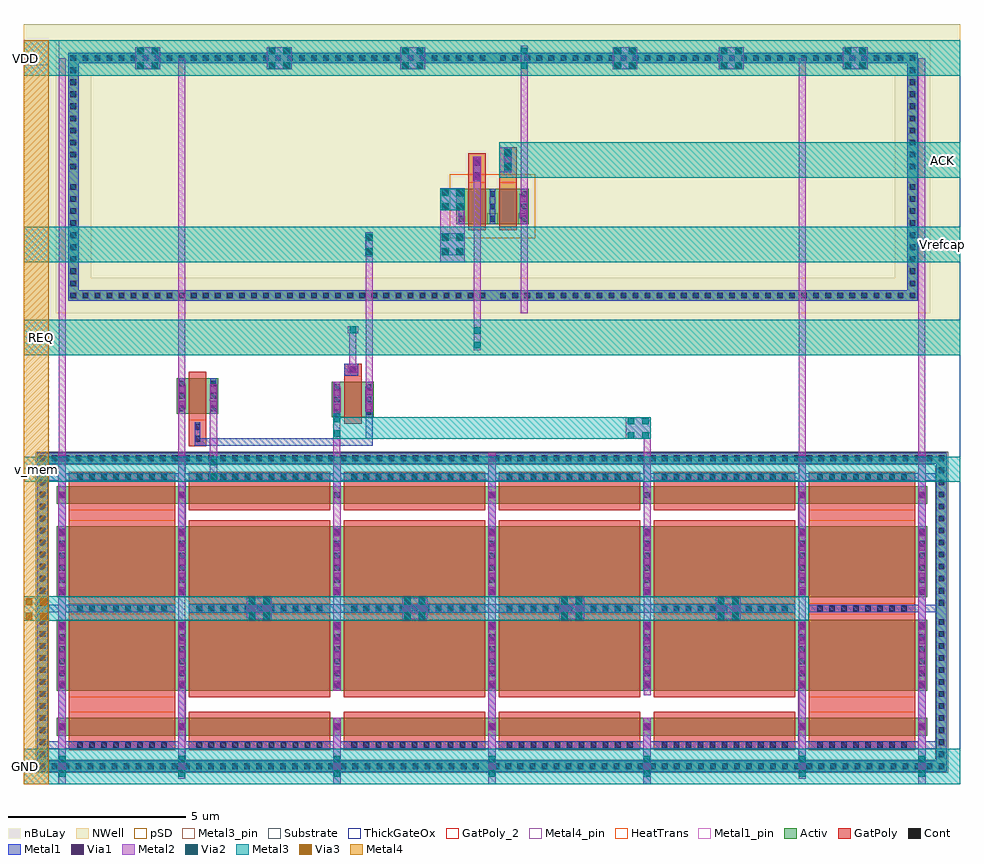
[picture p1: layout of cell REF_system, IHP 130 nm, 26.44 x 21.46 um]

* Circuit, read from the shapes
.subckt REF_system ACK GND REQ VDD Vrefcap v_mem v_ref
XM1 GND GND GND GND sg13_hv_nmos w=0.5u l=3u m=4
XM2 GND GND GND GND sg13_hv_nmos w=2u l=3u m=4
XM3 GND GND GND GND sg13_hv_nmos w=0.5u l=4u m=8
XM4 n1 v_ref GND GND sg13_hv_nmos w=2u l=4u m=8
XM5 v_mem Vrefcap GND GND sg13_hv_nmos w=1u l=0.5u
XM6 Vrefcap REQ n1 GND sg13_hv_nmos w=1u l=0.5u
XM7 n2 REQ Vrefcap VDD sg13_hv_pmos w=1u l=0.5u
XM8 VDD ACK n2 VDD sg13_hv_pmos w=1u l=0.5u
.ends

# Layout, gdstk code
from math import pi, radians
import gdstk
lib = gdstk.Library(unit=1e-6, precision=1e-09)
def R(c, l, rs):  # rectangles x0, y0, x1, y1
    for r in rs: c.add(gdstk.rectangle(r[:2], r[2:], *l))
def A(c, l, x, y, w, h, nx, ny, dx, dy):  # array of equal rectangles
    R(c, l, [(x+i*dx, y+j*dy, x+i*dx+w, y+j*dy+h) for i in range(nx) for j in range(ny)])
def P(c, l, *ps):  # polygons
    for p in ps: c.add(gdstk.Polygon(p, *l))
Activ = (1, 0)
GatPoly = (5, 0)
GatPoly_2 = (5, 2)
Cont = (6, 0)
Metal1 = (8, 0)
Metal1_pin = (8, 2)
Metal2 = (10, 0)
pSD = (14, 0)
Via1 = (19, 0)
Via2 = (29, 0)
Metal3 = (30, 0)
Metal3_pin = (30, 2)
NWell = (31, 0)
nBuLay = (32, 0)
Substrate = (40, 0)
ThickGateOx = (44, 0)
Via3 = (49, 0)
Metal4 = (50, 0)
Metal4_pin = (50, 2)
HeatTrans = (51, 0)

pmoshv_11 = lib.new_cell('pmosHV$11')
R(pmoshv_11, Activ, [(0,0,0.3,0.3), (0,0,1.18,1), (0.88,0,1.18,0.3)])
R(pmoshv_11, GatPoly, [(0.34,-0.18,0.84,1.18)])
R(pmoshv_11, GatPoly_2, [(0.34,-0.18,0.84,1.18)])
A(pmoshv_11, Cont, 0.07, 0.07, 0.16, 0.16, 1, 3, 0, 0.35)
A(pmoshv_11, Cont, 0.95, 0.07, 0.16, 0.16, 1, 3, 0, 0.35)
R(pmoshv_11, Metal1, [(0.07,0,0.23,1), (0.95,0,1.11,1)])
R(pmoshv_11, Metal1_pin, [(0.07,0,0.23,1), (0.95,0,1.11,1)])
R(pmoshv_11, pSD, [(-0.18,-0.4,1.36,1.4)])
R(pmoshv_11, NWell, [(-0.62,-0.62,1.8,1.62)])
R(pmoshv_11, Substrate, [(0.88,0,1.18,0.3)])
R(pmoshv_11, ThickGateOx, [(-0.62,-0.62,1.8,1.62)])
R(pmoshv_11, HeatTrans, [(0.34,-0.18,0.84,1.18)])
pmoshv_11.add(gdstk.Label('pmosHV', (0.59,0.5), layer=63, texttype=0))
pmoshv_11.add(gdstk.Label('pmos', (0.59,0.5), layer=51, texttype=0))

guard_ring_6 = lib.new_cell('guard_ring$6')
R(guard_ring_6, Activ, [(-12,-3.2,-11.7,3.2), (11.7,-3.2,12,3.2), (-12,3.2,12,3.5)])
P(guard_ring_6, Activ, [(-12,-3.5),(-12,3.2),(-11.7,3.2),(-11.7,-3.2),(11.7,-3.2),(11.7,3.2),(-12,3.2),(-12,3.5),(12,3.5),(12,-3.5)])
A(guard_ring_6, Cont, -11.93, -3.43, 0.16, 0.16, 35, 2, 0.34, 6.7)
A(guard_ring_6, Cont, 0.21, -3.43, 0.16, 0.16, 35, 2, 0.34, 6.7)
A(guard_ring_6, Cont, -11.93, -3.09, 0.16, 0.16, 1, 9, 0, 0.34)
A(guard_ring_6, Cont, 11.77, -3.09, 0.16, 0.16, 1, 9, 0, 0.34)
A(guard_ring_6, Cont, -11.93, 0.21, 0.16, 0.16, 1, 9, 0, 0.34)
A(guard_ring_6, Cont, 11.77, 0.21, 0.16, 0.16, 1, 9, 0, 0.34)
R(guard_ring_6, Metal1, [(-12,-3.5,12,-3.2), (-12,-3.2,-11.7,3.2), (11.7,-3.2,12,3.2), (-12,3.2,12,3.5)])
R(guard_ring_6, NWell, [(-12.35,-3.85,12.35,3.85)])
R(guard_ring_6, nBuLay, [(-12.35,-2.85,-11.35,2.85), (11.35,-2.85,12.35,2.85), (-12.35,2.85,12.35,3.85)])
P(guard_ring_6, nBuLay, [(-12.35,-3.85),(-12.35,2.85),(-11.35,2.85),(-11.35,-2.85),(11.35,-2.85),(11.35,2.85),(-12.35,2.85),(-12.35,3.85),(12.35,3.85),(12.35,-3.85)])
guard_ring_6.add(gdstk.Label('well', (0,-3.35), layer=63, texttype=0))

via_stack_24 = lib.new_cell('via_stack$24')
R(via_stack_24, Metal1, [(-0.105,-0.35,0.105,0.35)])
R(via_stack_24, Metal2, [(-0.1,-0.35,0.1,0.35)])
R(via_stack_24, Via1, [(-0.095,-0.3,0.095,-0.11), (-0.095,0.11,0.095,0.3)])

nmoshv_10 = lib.new_cell('nmosHV$10')
R(nmoshv_10, Activ, [(0,0,0.3,0.3), (0,0,1.18,1), (0.88,0,1.18,0.3)])
R(nmoshv_10, GatPoly, [(0.34,-0.18,0.84,1.18)])
R(nmoshv_10, GatPoly_2, [(0.34,-0.18,0.84,1.18)])
A(nmoshv_10, Cont, 0.07, 0.07, 0.16, 0.16, 1, 3, 0, 0.35)
A(nmoshv_10, Cont, 0.95, 0.07, 0.16, 0.16, 1, 3, 0, 0.35)
R(nmoshv_10, Metal1, [(0.07,0,0.23,1), (0.95,0,1.11,1)])
R(nmoshv_10, Metal1_pin, [(0.07,0,0.23,1), (0.95,0,1.11,1)])
R(nmoshv_10, ThickGateOx, [(-0.27,-0.52,1.45,1.52)])
R(nmoshv_10, HeatTrans, [(0.34,-0.18,0.84,1.18)])
nmoshv_10.add(gdstk.Label('nmosHV', (0.59,0.5), layer=63, texttype=0))
nmoshv_10.add(gdstk.Label('nmosHV', (0.59,0.5), layer=51, texttype=0))

nmoshv_11 = lib.new_cell('nmosHV$11')
A(nmoshv_11, Activ, 0, 0, 0.3, 0.3, 5, 1, 4.38, 0)
R(nmoshv_11, Activ, [(0,0,17.82,0.5)])
A(nmoshv_11, GatPoly, 0.34, -0.18, 4, 0.86, 4, 1, 4.38, 0)
R(nmoshv_11, GatPoly_2, [(0.34,-0.18,4.34,0.68)])
A(nmoshv_11, Cont, 0.07, 0.17, 0.16, 0.16, 5, 1, 4.38, 0)
A(nmoshv_11, Metal1, 0.07, 0, 0.16, 0.5, 5, 1, 4.38, 0)
R(nmoshv_11, Metal1_pin, [(0.07,0,0.23,0.5), (4.45,0,4.61,0.5)])
R(nmoshv_11, ThickGateOx, [(-0.27,-0.52,18.09,1.02)])
A(nmoshv_11, HeatTrans, 0.34, -0.18, 4, 0.86, 4, 1, 4.38, 0)
nmoshv_11.add(gdstk.Label('nmosHV', (2.34,0.25), layer=63, texttype=0))
nmoshv_11.add(gdstk.Label('nmosHV', (2.34,0.25), layer=51, texttype=0))
nmoshv_11.add(gdstk.Label('nmosHV', (6.72,0.25), layer=51, texttype=0))
nmoshv_11.add(gdstk.Label('nmosHV', (11.1,0.25), layer=51, texttype=0))
nmoshv_11.add(gdstk.Label('nmosHV', (15.48,0.25), layer=51, texttype=0))

nmoshv_12 = lib.new_cell('nmosHV$12')
A(nmoshv_12, Activ, 0, 0, 0.3, 0.3, 3, 1, 4.38, 0)
R(nmoshv_12, Activ, [(0,0,9.06,2)])
R(nmoshv_12, GatPoly, [(0.34,-0.18,4.34,2.18), (4.72,-0.18,8.72,2.18)])
R(nmoshv_12, GatPoly_2, [(0.34,-0.18,4.34,2.18)])
A(nmoshv_12, Cont, 0.07, 0.07, 0.16, 0.16, 3, 6, 4.38, 0.34)
A(nmoshv_12, Metal1, 0.07, 0, 0.16, 2, 3, 1, 4.38, 0)
R(nmoshv_12, Metal1_pin, [(0.07,0,0.23,2), (4.45,0,4.61,2)])
R(nmoshv_12, ThickGateOx, [(-0.27,-0.52,9.33,2.52)])
R(nmoshv_12, HeatTrans, [(0.34,-0.18,4.34,2.18), (4.72,-0.18,8.72,2.18)])
nmoshv_12.add(gdstk.Label('nmosHV', (2.34,1), layer=63, texttype=0))
nmoshv_12.add(gdstk.Label('nmosHV', (2.34,1), layer=51, texttype=0))
nmoshv_12.add(gdstk.Label('nmosHV', (6.72,1), layer=51, texttype=0))

guard_ring_7 = lib.new_cell('guard_ring$7')
R(guard_ring_7, Activ, [(-12.85,-4.2,-12.55,4.2), (12.55,-4.2,12.85,4.2), (-12.85,4.2,12.85,4.5)])
P(guard_ring_7, Activ, [(-12.85,-4.5),(-12.85,4.2),(-12.55,4.2),(-12.55,-4.2),(12.55,-4.2),(12.55,4.2),(-12.85,4.2),(-12.85,4.5),(12.85,4.5),(12.85,-4.5)])
A(guard_ring_7, Cont, -12.78, -4.43, 0.16, 0.16, 37, 2, 0.34, 8.7)
A(guard_ring_7, Cont, 0.04, -4.43, 0.16, 0.16, 38, 2, 0.34, 8.7)
A(guard_ring_7, Cont, -12.78, -4.09, 0.16, 0.16, 1, 12, 0, 0.34)
A(guard_ring_7, Cont, 12.62, -4.09, 0.16, 0.16, 1, 12, 0, 0.34)
A(guard_ring_7, Cont, -12.78, 0.19, 0.16, 0.16, 1, 12, 0, 0.34)
A(guard_ring_7, Cont, 12.62, 0.19, 0.16, 0.16, 1, 12, 0, 0.34)
R(guard_ring_7, Metal1, [(-12.85,-4.5,12.85,-4.2), (-12.85,-4.2,-12.55,4.2), (12.55,-4.2,12.85,4.2), (-12.85,4.2,12.85,4.5)])
R(guard_ring_7, pSD, [(-12.88,-4.17,-12.52,4.17), (12.52,-4.17,12.88,4.17), (-12.88,4.17,12.88,4.53)])
P(guard_ring_7, pSD, [(-12.88,-4.53),(-12.88,4.17),(-12.52,4.17),(-12.52,-4.17),(12.52,-4.17),(12.52,4.17),(-12.88,4.17),(-12.88,4.53),(12.88,4.53),(12.88,-4.53)])
R(guard_ring_7, Substrate, [(-12.88,-4.17,-12.52,4.17), (12.52,-4.17,12.88,4.17), (-12.88,4.17,12.88,4.53)])
P(guard_ring_7, Substrate, [(-12.88,-4.53),(-12.88,4.17),(-12.52,4.17),(-12.52,-4.17),(12.52,-4.17),(12.52,4.17),(-12.88,4.17),(-12.88,4.53),(12.88,4.53),(12.88,-4.53)])
guard_ring_7.add(gdstk.Label('sub!', (0,-4.35), layer=63, texttype=0))

via_stack_27 = lib.new_cell('via_stack$27')
R(via_stack_27, Metal2, [(-0.1,-0.35,0.1,0.35)])
R(via_stack_27, Via2, [(-0.095,-0.3,0.095,-0.11), (-0.095,0.11,0.095,0.3)])
R(via_stack_27, Metal3, [(-0.1,-0.35,0.1,0.35)])

via_stack_25 = lib.new_cell('via_stack$25')
R(via_stack_25, Metal1, [(-0.35,-0.31,0.35,0.31)])
R(via_stack_25, Metal2, [(-0.35,-0.305,0.35,0.305)])
R(via_stack_25, Via1, [(-0.3,-0.3,-0.11,-0.11), (0.11,-0.3,0.3,-0.11), (-0.3,0.11,-0.11,0.3), (0.11,0.11,0.3,0.3)])
R(via_stack_25, Via2, [(-0.3,-0.3,-0.11,-0.11), (0.11,-0.3,0.3,-0.11), (-0.3,0.11,-0.11,0.3), (0.11,0.11,0.3,0.3)])
R(via_stack_25, Metal3, [(-0.35,-0.305,0.35,0.305)])

via_stack_26 = lib.new_cell('via_stack$26')
R(via_stack_26, GatPoly, [(-0.15,-0.32,0.15,0.32)])
R(via_stack_26, Cont, [(-0.08,-0.25,0.08,-0.09), (-0.08,0.09,0.08,0.25)])
R(via_stack_26, Metal1, [(-0.105,-0.35,0.105,0.35)])
R(via_stack_26, Metal2, [(-0.1,-0.35,0.1,0.35)])
R(via_stack_26, Via1, [(-0.095,-0.3,0.095,-0.11), (-0.095,0.11,0.095,0.3)])
R(via_stack_26, Via2, [(-0.095,-0.3,0.095,-0.11), (-0.095,0.11,0.095,0.3)])
R(via_stack_26, Metal3, [(-0.1,-0.35,0.1,0.35)])

via_stack_28 = lib.new_cell('via_stack$28')
R(via_stack_28, Metal2, [(-0.145,-0.1,0.145,0.1)])
R(via_stack_28, Via2, [(-0.095,-0.095,0.095,0.095)])
R(via_stack_28, Metal3, [(-0.145,-0.1,0.145,0.1)])

via_stack_29 = lib.new_cell('via_stack$29')
R(via_stack_29, GatPoly, [(-0.15,-0.32,0.15,0.32)])
R(via_stack_29, Cont, [(-0.08,-0.25,0.08,-0.09), (-0.08,0.09,0.08,0.25)])
R(via_stack_29, Metal1, [(-0.105,-0.35,0.105,0.35)])
R(via_stack_29, Metal2, [(-0.1,-0.35,0.1,0.35)])
R(via_stack_29, Via1, [(-0.095,-0.3,0.095,-0.11), (-0.095,0.11,0.095,0.3)])

via_stack_30 = lib.new_cell('via_stack$30')
R(via_stack_30, GatPoly, [(-0.15,-0.15,0.15,0.15)])
R(via_stack_30, Cont, [(-0.08,-0.08,0.08,0.08)])
R(via_stack_30, Metal1, [(-0.145,-0.105,0.145,0.105)])
R(via_stack_30, Metal2, [(-0.145,-0.1,0.145,0.1)])
R(via_stack_30, Via1, [(-0.095,-0.095,0.095,0.095)])

via_stack_31 = lib.new_cell('via_stack$31')
R(via_stack_31, Metal1, [(-0.105,-0.35,0.105,0.35)])
R(via_stack_31, Metal2, [(-0.1,-0.35,0.1,0.35)])
R(via_stack_31, Via1, [(-0.095,-0.3,0.095,-0.11), (-0.095,0.11,0.095,0.3)])
R(via_stack_31, Via2, [(-0.095,-0.3,0.095,-0.11), (-0.095,0.11,0.095,0.3)])
R(via_stack_31, Metal3, [(-0.1,-0.35,0.1,0.35)])

nmoshv_13 = lib.new_cell('nmosHV$13')
R(nmoshv_13, Activ, [(0,0,0.3,0.3), (0,0,3.68,0.5), (3.38,0,3.68,0.3)])
R(nmoshv_13, GatPoly, [(0.34,-0.18,3.34,0.68)])
R(nmoshv_13, GatPoly_2, [(0.34,-0.18,3.34,0.68)])
R(nmoshv_13, Cont, [(0.07,0.17,0.23,0.33), (3.45,0.17,3.61,0.33)])
R(nmoshv_13, Metal1, [(0.07,0,0.23,0.5), (3.45,0,3.61,0.5)])
R(nmoshv_13, Metal1_pin, [(0.07,0,0.23,0.5), (3.45,0,3.61,0.5)])
R(nmoshv_13, ThickGateOx, [(-0.27,-0.52,3.95,1.02)])
R(nmoshv_13, HeatTrans, [(0.34,-0.18,3.34,0.68)])
nmoshv_13.add(gdstk.Label('nmosHV', (1.84,0.25), layer=63, texttype=0))
nmoshv_13.add(gdstk.Label('nmosHV', (1.84,0.25), layer=51, texttype=0))

nmoshv_14 = lib.new_cell('nmosHV$14')
R(nmoshv_14, Activ, [(0,0,0.3,0.3), (0,0,3.68,2), (3.38,0,3.68,0.3)])
R(nmoshv_14, GatPoly, [(0.34,-0.18,3.34,2.18)])
R(nmoshv_14, GatPoly_2, [(0.34,-0.18,3.34,2.18)])
A(nmoshv_14, Cont, 0.07, 0.07, 0.16, 0.16, 1, 6, 0, 0.34)
A(nmoshv_14, Cont, 3.45, 0.07, 0.16, 0.16, 1, 6, 0, 0.34)
R(nmoshv_14, Metal1, [(0.07,0,0.23,2), (3.45,0,3.61,2)])
R(nmoshv_14, Metal1_pin, [(0.07,0,0.23,2), (3.45,0,3.61,2)])
R(nmoshv_14, ThickGateOx, [(-0.27,-0.52,3.95,2.52)])
R(nmoshv_14, HeatTrans, [(0.34,-0.18,3.34,2.18)])
nmoshv_14.add(gdstk.Label('nmosHV', (1.84,1), layer=63, texttype=0))
nmoshv_14.add(gdstk.Label('nmosHV', (1.84,1), layer=51, texttype=0))

via_stack_34 = lib.new_cell('via_stack$34')
R(via_stack_34, GatPoly, [(-1.85,-0.15,1.85,0.15)])
A(via_stack_34, Cont, -1.78, -0.08, 0.16, 0.16, 11, 1, 0.34, 0)
R(via_stack_34, Metal1, [(-1.83,-0.08,1.83,0.08)])

via_stack_35 = lib.new_cell('via_stack$35')
R(via_stack_35, GatPoly, [(-1.34,-0.15,1.34,0.15)])
A(via_stack_35, Cont, -1.27, -0.08, 0.16, 0.16, 8, 1, 0.34, 0)
R(via_stack_35, Metal1, [(-1.32,-0.08,1.32,0.08)])

via_stack_33 = lib.new_cell('via_stack$33')
R(via_stack_33, Metal1, [(-0.145,-0.105,0.145,0.105)])
R(via_stack_33, Metal2, [(-0.145,-0.1,0.145,0.1)])
R(via_stack_33, Via1, [(-0.095,-0.095,0.095,0.095)])

via_stack_36 = lib.new_cell('via_stack$36')
R(via_stack_36, GatPoly, [(-0.15,-0.32,0.15,0.32)])
R(via_stack_36, Cont, [(-0.08,-0.25,0.08,-0.09), (-0.08,0.09,0.08,0.25)])
R(via_stack_36, Metal1, [(-0.08,-0.3,0.08,0.3)])

via_stack_32 = lib.new_cell('via_stack$32')
R(via_stack_32, Metal1, [(-0.965,-0.105,0.965,0.105)])
R(via_stack_32, Metal2, [(-0.965,-0.1,0.965,0.1)])
A(via_stack_32, Via1, -0.915, -0.095, 0.19, 0.19, 5, 1, 0.41, 0)

via_stack_37 = lib.new_cell('via_stack$37')
R(via_stack_37, Metal3, [(-0.35,-0.305,0.35,0.305)])
R(via_stack_37, Via3, [(-0.3,-0.3,-0.11,-0.11), (0.11,-0.3,0.3,-0.11), (-0.3,0.11,-0.11,0.3), (0.11,0.11,0.3,0.3)])
R(via_stack_37, Metal4, [(-0.35,-0.305,0.35,0.305)])

via_stack_38 = lib.new_cell('via_stack$38')
R(via_stack_38, Metal1, [(-0.35,-0.105,0.35,0.105)])
R(via_stack_38, Metal2, [(-0.35,-0.1,0.35,0.1)])
R(via_stack_38, Via1, [(-0.3,-0.095,-0.11,0.095), (0.11,-0.095,0.3,0.095)])

via_stack_39 = lib.new_cell('via_stack$39')
R(via_stack_39, Metal2, [(-0.35,-0.305,0.35,0.305)])
R(via_stack_39, Via2, [(-0.3,-0.3,-0.11,-0.11), (0.11,-0.3,0.3,-0.11), (-0.3,0.11,-0.11,0.3), (0.11,0.11,0.3,0.3)])
R(via_stack_39, Metal3, [(-0.35,-0.305,0.35,0.305)])

ref_system = lib.new_cell('REF_system')
A(ref_system, GatPoly, 4.65, 0.455, 4, 0.3, 4, 1, 4.38, 0)
A(ref_system, GatPoly, 4.65, 1.955, 4, 5, 4, 1, 4.38, 0)
R(ref_system, GatPoly, [(1.27,0.455,4.27,8.325), (22.17,0.455,25.17,8.325), (4.65,8.025,8.65,8.325), (4.65,8.025,8.65,8.325), (9.03,8.025,13.03,8.325), (9.03,8.025,13.03,8.325), (13.41,8.025,17.41,8.325), (13.41,8.025,17.41,8.325), (17.79,8.025,21.79,8.325), (17.79,8.025,21.79,8.325), (4.655,9.035,5.155,9.955), (9.04,10.965,9.54,11.375), (13.425,16.21,13.92,17.485), (12.545,16.395,13.045,17.315)])
A(ref_system, Metal1, 4.355, 0.865, 0.21, 0.5, 5, 1, 4.38, 0)
A(ref_system, Metal1, 4.355, 2.135, 0.21, 2, 5, 2, 4.38, 2.64)
R(ref_system, Metal1, [(0.975,0.865,1.185,1.365), (25.255,0.865,25.465,1.365), (0.975,2.135,1.185,4.135), (25.255,2.135,25.465,4.135), (0.975,4.775,1.185,6.775), (25.255,4.775,25.465,6.775), (0.975,7.415,1.185,7.915), (0.975,7.415,1.185,7.915), (4.355,7.415,4.565,7.915), (4.355,7.415,4.565,7.915), (8.74,7.415,8.95,7.915), (8.74,7.415,8.95,7.915), (13.115,7.415,13.325,7.915), (13.115,7.415,13.325,7.915), (17.495,7.415,17.705,7.915), (17.495,7.415,17.705,7.915), (21.875,7.415,22.085,7.915), (21.875,7.415,22.085,7.915), (25.255,7.415,25.465,7.915), (25.255,7.415,25.465,7.915), (1.27,8.07,4.27,8.28), (1.27,8.07,4.27,8.28), (22.17,8.07,25.17,8.28), (22.17,8.07,25.17,8.28), (9.04,11.035,9.44,11.375)])
R(ref_system, Metal2, [(13.425,16.78,13.775,17.485)])
R(ref_system, Metal3_pin, [(0,-0.5,1,0.5), (0,8.04,0.7,8.74), (0,11.605,1,12.605), (25.44,14.24,26.44,15.24), (25.44,16.62,26.44,17.62), (0,19.5,1,20.5)])
R(ref_system, NWell, [(0,11.605,26.44,20.965)])
R(ref_system, ThickGateOx, [(0,-0.5,26.44,20.5)])
R(ref_system, Metal4_pin, [(0,19.8,0.7,20.5)])
ref_system.add(gdstk.FlexPath([(4.82,9.16),(9.75,9.16),(9.75,10.855)], 0.2, ends="flush", simple_path=True, layer=8, datatype=0))  # Metal1
ref_system.add(gdstk.FlexPath([(1.08,8.85),(1.08,-0.15)], 0.21, ends="flush", simple_path=True, layer=8, datatype=0))  # Metal1
ref_system.add(gdstk.FlexPath([(1.08,2.04),(1.08,0)], 0.21, ends="flush", simple_path=True, layer=8, datatype=0))  # Metal1
ref_system.add(gdstk.FlexPath([(25.36,2.04),(25.36,0)], 0.21, ends="flush", simple_path=True, layer=8, datatype=0))  # Metal1
ref_system.add(gdstk.FlexPath([(25.36,-0.15),(25.36,8.85)], 0.21, ends="flush", simple_path=True, layer=8, datatype=0))  # Metal1
ref_system.add(gdstk.FlexPath([(13.22,8.85),(13.22,4.775)], 0.21, ends="flush", simple_path=True, layer=8, datatype=0))  # Metal1
ref_system.add(gdstk.FlexPath([(4.46,4.135),(4.46,0)], 0.21, ends="flush", simple_path=True, layer=8, datatype=0))  # Metal1
ref_system.add(gdstk.FlexPath([(21.98,4.135),(21.98,0)], 0.21, ends="flush", simple_path=True, layer=8, datatype=0))  # Metal1
ref_system.add(gdstk.FlexPath([(21.98,8.85),(21.98,4.775)], 0.21, ends="flush", simple_path=True, layer=8, datatype=0))  # Metal1
ref_system.add(gdstk.FlexPath([(13.22,4.135),(13.22,0)], 0.21, ends="flush", simple_path=True, layer=8, datatype=0))  # Metal1
ref_system.add(gdstk.FlexPath([(4.65,4.455),(21.79,4.455)], 0.24, ends="flush", simple_path=True, layer=8, datatype=0))  # Metal1
ref_system.add(gdstk.FlexPath([(9.03,4.455),(13.03,4.455)], 0.24, ends="flush", simple_path=True, layer=8, datatype=0))  # Metal1
ref_system.add(gdstk.FlexPath([(13.41,4.455),(17.41,4.455)], 0.24, ends="flush", simple_path=True, layer=8, datatype=0))  # Metal1
ref_system.add(gdstk.FlexPath([(17.79,4.455),(21.79,4.455)], 0.24, ends="flush", simple_path=True, layer=8, datatype=0))  # Metal1
ref_system.add(gdstk.FlexPath([(8.84,1.365),(8.84,-0.5)], 0.21, ends="flush", simple_path=True, layer=8, datatype=0))  # Metal1
ref_system.add(gdstk.FlexPath([(17.6,1.365),(17.6,-0.5)], 0.21, ends="flush", simple_path=True, layer=8, datatype=0))  # Metal1
ref_system.add(gdstk.FlexPath([(8.845,8.85),(8.845,7.415)], 0.21, ends="flush", simple_path=True, layer=8, datatype=0))  # Metal1
ref_system.add(gdstk.FlexPath([(17.6,8.85),(17.6,7.415)], 0.21, ends="flush", simple_path=True, layer=8, datatype=0))  # Metal1
ref_system.add(gdstk.FlexPath([(4.46,8.85),(4.46,4.775)], 0.21, ends="flush", simple_path=True, layer=8, datatype=0))  # Metal1
ref_system.add(gdstk.FlexPath([(4.27,4.455),(0.38,4.455)], 0.21, ends="flush", simple_path=True, layer=8, datatype=0))  # Metal1
ref_system.add(gdstk.FlexPath([(0.38,8.175),(26.06,8.175)], 0.21, ends="flush", simple_path=True, layer=8, datatype=0))  # Metal1
ref_system.add(gdstk.FlexPath([(22.17,4.455),(26.06,4.455),(26.06,4.455)], 0.21, ends="flush", simple_path=True, layer=8, datatype=0))  # Metal1
ref_system.add(gdstk.FlexPath([(0.38,0.605),(26.06,0.605)], 0.21, ends="flush", simple_path=True, layer=8, datatype=0))  # Metal1
ref_system.add(gdstk.FlexPath([(0.38,8.175),(26.06,8.175)], 0.21, ends="flush", simple_path=True, layer=8, datatype=0))  # Metal1
ref_system.add(gdstk.FlexPath([(17.6,8.85),(17.6,7.415)], 0.21, ends="flush", simple_path=True, layer=8, datatype=0))  # Metal1
ref_system.add(gdstk.FlexPath([(8.845,8.85),(8.845,7.415)], 0.21, ends="flush", simple_path=True, layer=8, datatype=0))  # Metal1
ref_system.add(gdstk.FlexPath([(1.08,8.845),(1.08,20)], 0.2, ends="flush", simple_path=True, layer=10, datatype=0))  # Metal2
ref_system.add(gdstk.FlexPath([(21.98,8.845),(21.98,20)], 0.2, ends="flush", simple_path=True, layer=10, datatype=0))  # Metal2
ref_system.add(gdstk.FlexPath([(17.6,2),(17.6,9.855)], 0.2, ends="flush", simple_path=True, layer=10, datatype=0))  # Metal2
ref_system.add(gdstk.FlexPath([(12.105,16.315),(12.105,14.24)], 0.7, ends="flush", simple_path=True, layer=10, datatype=0))  # Metal2
ref_system.add(gdstk.FlexPath([(14.125,20.35),(14.125,12.8)], 0.2, ends="flush", simple_path=True, layer=10, datatype=0))  # Metal2
ref_system.add(gdstk.FlexPath([(4.46,10.81),(4.46,20)], 0.2, ends="flush", simple_path=True, layer=10, datatype=0))  # Metal2
ref_system.add(gdstk.FlexPath([(25.36,8.845),(25.36,20)], 0.2, ends="flush", simple_path=True, layer=10, datatype=0))  # Metal2
ref_system.add(gdstk.FlexPath([(4.46,9.675),(4.46,10.81)], 0.2, ends="flush", simple_path=True, layer=10, datatype=0))  # Metal2
ref_system.add(gdstk.FlexPath([(5.355,10.79),(5.355,8.04)], 0.2, ends="flush", simple_path=True, layer=10, datatype=0))  # Metal2
ref_system.add(gdstk.FlexPath([(9.75,10.02),(9.75,14.74)], 0.2, ends="flush", simple_path=True, layer=10, datatype=0))  # Metal2
ref_system.add(gdstk.FlexPath([(12.8,17.22),(12.8,11.755)], 0.2, ends="flush", simple_path=True, layer=10, datatype=0))  # Metal2
ref_system.add(gdstk.FlexPath([(8.84,2.135),(8.84,8.695)], 0.21, ends="flush", simple_path=True, layer=10, datatype=0))  # Metal2
ref_system.add(gdstk.FlexPath([(25.36,8.85),(25.36,-0.5)], 0.21, ends="flush", simple_path=True, layer=10, datatype=0))  # Metal2
ref_system.add(gdstk.FlexPath([(1.08,8.85),(1.08,-0.5)], 0.21, ends="flush", simple_path=True, layer=10, datatype=0))  # Metal2
ref_system.add(gdstk.FlexPath([(13.22,8.85),(13.22,-0.5)], 0.21, ends="flush", simple_path=True, layer=10, datatype=0))  # Metal2
ref_system.add(gdstk.FlexPath([(8.84,1.365),(8.84,-0.5)], 0.21, ends="flush", simple_path=True, layer=10, datatype=0))  # Metal2
ref_system.add(gdstk.FlexPath([(17.6,1.365),(17.6,-0.5)], 0.21, ends="flush", simple_path=True, layer=10, datatype=0))  # Metal2
ref_system.add(gdstk.FlexPath([(8.84,8.695),(8.84,10.855)], 0.2, ends="flush", simple_path=True, layer=10, datatype=0))  # Metal2
ref_system.add(gdstk.FlexPath([(4.46,-0.35),(4.46,9.675)], 0.2, ends="flush", simple_path=True, layer=10, datatype=0))  # Metal2
ref_system.add(gdstk.FlexPath([(21.98,-0.35),(21.98,8.845)], 0.2, ends="flush", simple_path=True, layer=10, datatype=0))  # Metal2
ref_system.add(gdstk.FlexPath([(9.29,11.115),(9.29,12.43)], 0.2, ends="flush", simple_path=True, layer=10, datatype=0))  # Metal2
ref_system.add(gdstk.FlexPath([(17.7,9.55),(8.745,9.55)], 0.61, ends="flush", simple_path=True, layer=30, datatype=0))  # Metal3
ref_system.add(gdstk.FlexPath([(26.44,12.105),(0,12.105)], 1, ends="flush", simple_path=True, layer=30, datatype=0))  # Metal3
ref_system.add(gdstk.FlexPath([(0,4.455),(22.17,4.455)], 0.7, ends="flush", simple_path=True, layer=30, datatype=0))  # Metal3
ref_system.add(gdstk.FlexPath([(26.44,17.12),(13.425,17.12)], 1, ends="flush", simple_path=True, layer=30, datatype=0))  # Metal3
ref_system.add(gdstk.FlexPath([(26.44,8.39),(0,8.39)], 0.7, ends="flush", simple_path=True, layer=30, datatype=0))  # Metal3
ref_system.add(gdstk.FlexPath([(0,0),(26.44,0)], 1, ends="flush", simple_path=True, layer=30, datatype=0))  # Metal3
ref_system.add(gdstk.FlexPath([(0,20),(26.44,20)], 1, ends="flush", simple_path=True, layer=30, datatype=0))  # Metal3
ref_system.add(gdstk.FlexPath([(26.44,8.39),(0,8.39)], 0.7, ends="flush", simple_path=True, layer=30, datatype=0))  # Metal3
ref_system.add(gdstk.FlexPath([(26.44,14.74),(0,14.74)], 1, ends="flush", simple_path=True, layer=30, datatype=0))  # Metal3
ref_system.add(gdstk.FlexPath([(0.35,-0.5),(0.35,20.5)], 0.7, ends="flush", simple_path=True, layer=50, datatype=0))  # Metal4
ref_system.add(gdstk.Reference(pmoshv_11, (13.085,15.315)))
ref_system.add(gdstk.Reference(guard_ring_6, (13.245,16.65)))
ref_system.add(gdstk.Reference(via_stack_24, (8.845,10.355)))
ref_system.add(gdstk.Reference(nmoshv_10, (9.88,10.855), rotation=pi))
ref_system.add(gdstk.Reference(via_stack_24, (9.75,10.37)))
ref_system.add(gdstk.Reference(pmoshv_11, (12.205,15.315)))
ref_system.add(gdstk.Reference(nmoshv_11, (4.31,0.865)))
ref_system.add(gdstk.Reference(nmoshv_12, (4.31,2.135)))
ref_system.add(gdstk.Reference(nmoshv_12, (4.31,4.775)))
ref_system.add(gdstk.Reference(nmoshv_11, (4.31,7.415)))
ref_system.add(gdstk.Reference(nmoshv_11, (4.31,7.415)))
ref_system.add(gdstk.Reference(nmoshv_10, (4.315,9.96)))
ref_system.add(gdstk.Reference(guard_ring_7, (13.22,4.35)))
ref_system.add(gdstk.Reference(nmoshv_12, (13.07,2.135)))
ref_system.add(gdstk.Reference(nmoshv_12, (13.07,4.775)))
ref_system.add(gdstk.Reference(via_stack_27, (14.125,20)))
ref_system.add(gdstk.Reference(via_stack_25, (16.975,20)))
ref_system.add(gdstk.Reference(via_stack_25, (16.975,20)))
ref_system.add(gdstk.Reference(via_stack_24, (14.115,15.815)))
ref_system.add(gdstk.Reference(via_stack_26, (13.665,17.13)))
ref_system.add(gdstk.Reference(via_stack_25, (19.975,20)))
ref_system.add(gdstk.Reference(via_stack_25, (23.48,20)))
ref_system.add(gdstk.Reference(via_stack_25, (12.105,14.74)))
ref_system.add(gdstk.Reference(via_stack_25, (10.98,20)))
ref_system.add(gdstk.Reference(via_stack_25, (7.215,20)))
ref_system.add(gdstk.Reference(via_stack_28, (9.295,12.33)))
ref_system.add(gdstk.Reference(via_stack_24, (5.355,10.44)))
ref_system.add(gdstk.Reference(via_stack_24, (4.465,10.44)))
ref_system.add(gdstk.Reference(via_stack_29, (12.8,16.87)))
ref_system.add(gdstk.Reference(via_stack_27, (12.805,12.105)))
ref_system.add(gdstk.Reference(via_stack_25, (3.5,20)))
ref_system.add(gdstk.Reference(via_stack_25, (12.105,16.01)))
ref_system.add(gdstk.Reference(via_stack_30, (9.29,11.21)))
ref_system.add(gdstk.Reference(via_stack_31, (9.75,14.74)))
ref_system.add(gdstk.Reference(nmoshv_13, (0.93,0.865)))
ref_system.add(gdstk.Reference(nmoshv_13, (0.93,7.415)))
ref_system.add(gdstk.Reference(nmoshv_14, (0.93,4.775)))
ref_system.add(gdstk.Reference(nmoshv_14, (0.93,2.135)))
ref_system.add(gdstk.Reference(via_stack_27, (1.08,0)))
ref_system.add(gdstk.Reference(via_stack_34, (11.03,8.175)))
ref_system.add(gdstk.Reference(via_stack_34, (6.65,8.175)))
ref_system.add(gdstk.Reference(via_stack_35, (2.77,8.175)))
ref_system.add(gdstk.Reference(via_stack_33, (1.08,7.665), rotation=pi/2))
ref_system.add(gdstk.Reference(nmoshv_13, (0.93,7.415)))
ref_system.add(gdstk.Reference(via_stack_33, (4.46,8.7), rotation=pi/2))
ref_system.add(gdstk.Reference(via_stack_33, (4.46,7.665), rotation=pi/2))
ref_system.add(gdstk.Reference(via_stack_27, (5.365,8.39)))
ref_system.add(gdstk.Reference(via_stack_33, (1.08,8.7), rotation=pi/2))
ref_system.add(gdstk.Reference(via_stack_33, (1.08,0), rotation=pi/2))
ref_system.add(gdstk.Reference(via_stack_36, (4.9,9.42)))
ref_system.add(gdstk.Reference(via_stack_33, (1.08,1.115), rotation=pi/2))
ref_system.add(gdstk.Reference(via_stack_34, (6.65,4.455)))
ref_system.add(gdstk.Reference(via_stack_34, (11.03,4.455)))
ref_system.add(gdstk.Reference(via_stack_32, (8.84,3.135), rotation=pi/2))
ref_system.add(gdstk.Reference(via_stack_32, (8.84,5.775), rotation=pi/2))
ref_system.add(gdstk.Reference(via_stack_37, (0.35,4.445)))
ref_system.add(gdstk.Reference(via_stack_27, (8.84,0)))
ref_system.add(gdstk.Reference(via_stack_33, (8.84,0), rotation=pi/2))
ref_system.add(gdstk.Reference(via_stack_33, (8.84,1.115), rotation=pi/2))
ref_system.add(gdstk.Reference(via_stack_38, (6.65,4.455)))
ref_system.add(gdstk.Reference(via_stack_32, (1.08,3.135), rotation=pi/2))
ref_system.add(gdstk.Reference(via_stack_27, (8.84,9.605)))
ref_system.add(gdstk.Reference(via_stack_39, (6.65,4.455)))
ref_system.add(gdstk.Reference(via_stack_39, (6.65,4.455)))
ref_system.add(gdstk.Reference(via_stack_38, (11.035,4.445)))
ref_system.add(gdstk.Reference(via_stack_39, (11.035,4.455)))
ref_system.add(gdstk.Reference(via_stack_32, (1.08,5.775), rotation=pi/2))
ref_system.add(gdstk.Reference(via_stack_33, (1.08,7.665), rotation=pi/2))
ref_system.add(gdstk.Reference(via_stack_35, (2.77,4.455)))
ref_system.add(gdstk.Reference(via_stack_35, (2.77,8.175)))
ref_system.add(gdstk.Reference(via_stack_35, (2.77,0.605)))
ref_system.add(gdstk.Reference(via_stack_34, (6.65,0.605)))
ref_system.add(gdstk.Reference(via_stack_34, (11.03,0.605)))
ref_system.add(gdstk.Reference(via_stack_34, (6.65,8.175)))
ref_system.add(gdstk.Reference(via_stack_34, (11.03,8.175)))
ref_system.add(gdstk.Reference(via_stack_33, (1.08,8.7), rotation=pi/2))
ref_system.add(gdstk.Reference(via_stack_27, (4.46,0)))
ref_system.add(gdstk.Reference(via_stack_33, (4.46,0), rotation=pi/2))
ref_system.add(gdstk.Reference(via_stack_33, (4.46,1.115), rotation=pi/2))
ref_system.add(gdstk.Reference(via_stack_32, (4.46,3.135), rotation=pi/2))
ref_system.add(gdstk.Reference(via_stack_32, (4.46,5.775), rotation=pi/2))
ref_system.add(gdstk.Reference(via_stack_33, (4.46,7.665), rotation=pi/2))
ref_system.add(gdstk.Reference(via_stack_33, (4.46,8.7), rotation=pi/2))
ref_system.add(gdstk.Reference(via_stack_33, (21.98,0), rotation=pi/2))
ref_system.add(gdstk.Reference(nmoshv_14, (21.83,2.135)))
ref_system.add(gdstk.Reference(via_stack_34, (15.41,8.175)))
ref_system.add(gdstk.Reference(via_stack_33, (21.98,1.115), rotation=pi/2))
ref_system.add(gdstk.Reference(via_stack_34, (19.79,8.175)))
ref_system.add(gdstk.Reference(via_stack_27, (17.6,0)))
ref_system.add(gdstk.Reference(via_stack_33, (17.6,0), rotation=pi/2))
ref_system.add(gdstk.Reference(via_stack_33, (17.6,1.115), rotation=pi/2))
ref_system.add(gdstk.Reference(via_stack_34, (19.79,8.175)))
ref_system.add(gdstk.Reference(via_stack_34, (15.41,8.175)))
ref_system.add(gdstk.Reference(via_stack_33, (25.36,7.665), rotation=pi/2))
ref_system.add(gdstk.Reference(via_stack_35, (23.67,8.175)))
ref_system.add(gdstk.Reference(via_stack_33, (25.36,8.7), rotation=pi/2))
ref_system.add(gdstk.Reference(via_stack_33, (21.98,8.7), rotation=pi/2))
ref_system.add(gdstk.Reference(via_stack_33, (21.98,7.665), rotation=pi/2))
ref_system.add(gdstk.Reference(via_stack_33, (13.22,8.7), rotation=pi/2))
ref_system.add(gdstk.Reference(nmoshv_13, (21.83,7.415)))
ref_system.add(gdstk.Reference(via_stack_32, (21.98,3.135), rotation=pi/2))
ref_system.add(gdstk.Reference(via_stack_38, (19.89,4.445)))
ref_system.add(gdstk.Reference(via_stack_32, (21.98,5.775), rotation=pi/2))
ref_system.add(gdstk.Reference(via_stack_33, (21.98,7.665), rotation=pi/2))
ref_system.add(gdstk.Reference(via_stack_33, (21.98,8.7), rotation=pi/2))
ref_system.add(gdstk.Reference(via_stack_27, (25.36,0)))
ref_system.add(gdstk.Reference(via_stack_33, (25.36,0), rotation=pi/2))
ref_system.add(gdstk.Reference(via_stack_33, (25.36,8.7), rotation=pi/2))
ref_system.add(gdstk.Reference(via_stack_33, (25.36,1.115), rotation=pi/2))
ref_system.add(gdstk.Reference(via_stack_32, (25.36,3.135), rotation=pi/2))
ref_system.add(gdstk.Reference(via_stack_35, (23.67,4.455)))
ref_system.add(gdstk.Reference(via_stack_35, (23.67,8.175)))
ref_system.add(gdstk.Reference(via_stack_35, (23.67,0.605)))
ref_system.add(gdstk.Reference(via_stack_32, (25.36,5.775), rotation=pi/2))
ref_system.add(gdstk.Reference(via_stack_33, (25.36,7.665), rotation=pi/2))
ref_system.add(gdstk.Reference(via_stack_34, (15.41,0.605)))
ref_system.add(gdstk.Reference(via_stack_34, (19.79,0.605)))
ref_system.add(gdstk.Reference(via_stack_34, (15.41,4.455)))
ref_system.add(gdstk.Reference(via_stack_34, (19.79,4.455)))
ref_system.add(gdstk.Reference(via_stack_39, (19.89,4.455)))
ref_system.add(gdstk.Reference(via_stack_33, (13.22,7.665), rotation=pi/2))
ref_system.add(gdstk.Reference(via_stack_39, (17.35,9.55)))
ref_system.add(gdstk.Reference(via_stack_32, (13.22,3.135), rotation=pi/2))
ref_system.add(gdstk.Reference(via_stack_32, (13.22,5.775), rotation=pi/2))
ref_system.add(gdstk.Reference(via_stack_33, (13.22,7.665), rotation=pi/2))
ref_system.add(gdstk.Reference(via_stack_38, (15.47,4.445)))
ref_system.add(gdstk.Reference(via_stack_39, (15.47,4.455)))
ref_system.add(gdstk.Reference(via_stack_33, (13.22,8.7), rotation=pi/2))
ref_system.add(gdstk.Reference(via_stack_27, (13.22,0)))
ref_system.add(gdstk.Reference(via_stack_33, (13.22,0), rotation=pi/2))
ref_system.add(gdstk.Reference(nmoshv_14, (21.83,4.775)))
ref_system.add(gdstk.Reference(nmoshv_13, (21.83,7.415)))
ref_system.add(gdstk.Reference(via_stack_32, (17.6,3.135), rotation=pi/2))
ref_system.add(gdstk.Reference(via_stack_33, (13.22,1.115), rotation=pi/2))
ref_system.add(gdstk.Reference(nmoshv_13, (21.83,0.865)))
ref_system.add(gdstk.Reference(via_stack_32, (17.6,5.775), rotation=pi/2))
ref_system.add(gdstk.Reference(via_stack_27, (21.98,0)))
ref_system.add(gdstk.Label('v_mem', (0.35,8.39), layer=30, texttype=25))
ref_system.add(gdstk.Label('ACK', (25.94,17.12), layer=30, texttype=25))
ref_system.add(gdstk.Label('GND', (0.035,0), layer=30, texttype=25))
ref_system.add(gdstk.Label('VDD', (0.035,20), layer=30, texttype=25))
ref_system.add(gdstk.Label('REQ', (0.5,12.105), layer=30, texttype=25))
ref_system.add(gdstk.Label('Vrefcap', (25.94,14.74), layer=30, texttype=25))
ref_system.add(gdstk.Label('v_ref', (0.345,20.15), layer=50, texttype=25))

lib.write_gds('REF_system.gds')
